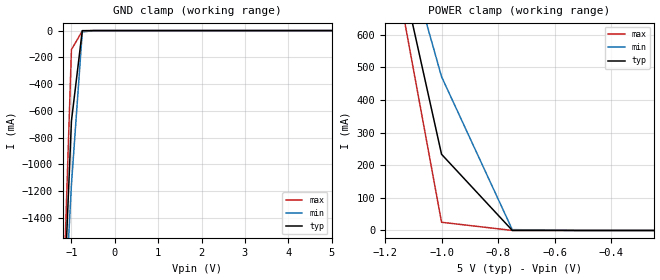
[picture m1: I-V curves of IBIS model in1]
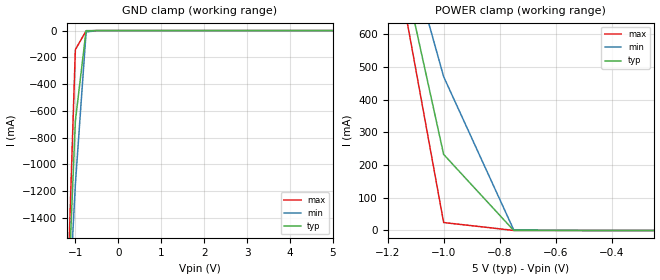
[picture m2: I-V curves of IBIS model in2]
|   | |\   |
|   | | \  |
|   | | /  |
|   | |/   |
| COPYRIGHT(C) ADI 2012
[IBIS Ver] 4.0
[File Name] ad9833.ibs
[File Rev] 1.0
[Source]   This file originated at Analog Devices.
   I/V Curves based on simulations.
   Author:  John Condon, Engineering Student, UCC
   Questions or Comments: John.Condon@analog.com
[Date]   10 August 2012
[Notes]
[Disclaimer]
            This IBIS model is provided "AS IS, WHERE IS, AND WITH NO
            WARRANTY OF ANY KIND EITHER EXPRESSED OR IMPLIED, INCLUDING
            BUT NOT LIMITED TO ANY IMPLIED WARRANTIES OF MERCHANTABILITY
            AND FITNESS FOR A PARTICULAR PURPOSE."
            In no event will ADI be liable for special, collateral,
            incidental, or consequential damages in connection with or
            arising out of the use of this IBIS model.  ADI reserves the
            right to make changes to the products and IBIS models without
            prior notice.
[Copyright]   Copyright (C)2012 Analog Devices, All Rights Reserved
[Component] AD9833
[Manufacturer] Analog Devices
[Package]
| variable   typ   min   max
R_pkg   47.5mohms   NA   NA
L_pkg   1.2nH   NA   NA
C_pkg   0.45pF   NA   NA
[Pin]   signal_name   model_name
1   COMP   NC
2   VDD   POWER
3   CAP_2.5V   NC
4   DGND   GND
5   MCLK   in1
6   SDATA   in2
7   SCLK   in2
8   FSYNC   in2
9   AGND   GND
10   VOUT   NC
| Models and submodels in the file (2): in1 (Input), in2 (Input)
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[Model] in1
Model_type Input
Vinl = 0.8V
Vinh = 2.8V
C_comp 2.25pF NA NA
| variable   typ   min   max
[Temperature Range]   25   105   -40
[Voltage Range]   5V   4.5V   5.50V
[GND Clamp Reference]   0V   0V   0V
[POWER Clamp Reference]  5.0V   4.50V   5.50V
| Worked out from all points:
|   GND clamp passes 1 mA (typ) near -0.75 V on its own axis
|   POWER clamp passes 1 mA (typ) near -0.75 V on its own axis
[GND Clamp]
| Note: Vtable = Vpin
| Voltage  I(typ)   I(min)   I(max)
-5.5V     -35.9A     -28.93A    -45.17A
-1.25V    -2.629A    -2.69A     -2.626A
-1V       -675mA     -1.149A    -142.4mA
-750mV    -486.5uA   -10.99mA   -2.857mA
-500mV    -1.544uA   -9.86uA    -19.89uA
5V        23.12pA    9.84uA     20.79pA
[Power Clamp]
| Note: Vtable = VDD - Vpin
| Voltage  I(typ)   I(min)   I(max)
-5.5V     17.82A     14.34A     22.44A
-1.25V    1.209A     1.24A      1.203A
-1V       233.3mA    470.9mA    25.13mA
-750mV    236.9uA    2.517mA    141.7uA
-250mV    187.3pA    5.768nA    38.74pA
[Model] in2
Model_type Input
Vinl = 0.8V
Vinh = 2.8V
C_comp 1.65pF NA NA
| variable   typ   min   max
[Temperature Range]   25   105   -40
[Voltage Range]   5V   4.5V   5.50V
[GND Clamp Reference]   0V   0V   0V
[POWER Clamp Reference]  5.0V   4.50V   5.50V
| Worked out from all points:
|   GND clamp passes 1 mA (typ) near -0.75 V on its own axis
|   POWER clamp passes 1 mA (typ) near -0.75 V on its own axis
[GND Clamp]
| Note: Vtable = Vpin
| Voltage  I(typ)   I(min)   I(max)
-5.5V     -35.89A    -28.92A    -45.16A
-1.25V    -2.629A    -2.69A     -2.625A
-1V       -674.9mA   -1.149A    -142.3mA
-750mV    -485.9uA   -10.96mA   -2.852mA
-500mV    -1.544uA   -9.859uA   -19.89uA
5V        23.12pA    8.883uA    20.79pA
[Power Clamp]
| Note: Vtable = VDD - Vpin
| Voltage  I(typ)   I(min)   I(max)
-5.5V     17.79A     14.32A     22.41A
-1.25V    1.207A     1.238A     1.2A
-1V       232.2mA    469.6mA    24.27mA
-750mV    159.6uA    2.108mA    141.6uA
-250mV    187.3pA    5.768nA    38.74pA
